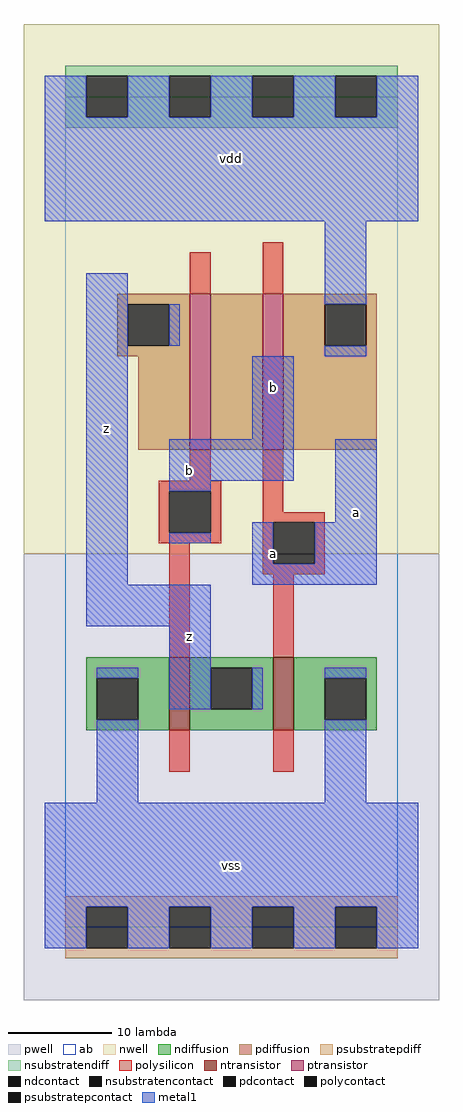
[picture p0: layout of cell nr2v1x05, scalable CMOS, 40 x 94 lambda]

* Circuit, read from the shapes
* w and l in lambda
.subckt nr2v1x05 a b vdd vss z
M1 z b vss vss nfet w=7 l=2
M2 vss a z vss nfet w=7 l=2
M3 n1 b z vdd pfet w=15 l=2
M4 vdd a n1 vdd pfet w=15 l=2
.ends

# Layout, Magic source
magic
tech scmos
<< ab >>
rect 0 0 32 80
<< pwell >>
rect -4 -7 36 36
<< nwell >>
rect -4 36 36 87
<< polysilicon >>
rect 12 61 14 65
rect 19 61 21 66
rect 12 43 14 46
rect 9 42 15 43
rect 9 38 10 42
rect 14 38 15 42
rect 9 37 15 38
rect 19 40 21 46
rect 19 39 25 40
rect 10 26 12 37
rect 19 35 20 39
rect 24 35 25 39
rect 19 34 25 35
rect 20 26 22 34
rect 10 15 12 19
rect 20 15 22 19
<< ndiffusion >>
rect 2 24 10 26
rect 2 20 3 24
rect 7 20 10 24
rect 2 19 10 20
rect 12 25 20 26
rect 12 21 14 25
rect 18 21 20 25
rect 12 19 20 21
rect 22 24 30 26
rect 22 20 25 24
rect 29 20 30 24
rect 22 19 30 20
<< pdiffusion >>
rect 5 60 12 61
rect 5 56 6 60
rect 10 56 12 60
rect 5 55 12 56
rect 7 46 12 55
rect 14 46 19 61
rect 21 60 30 61
rect 21 56 25 60
rect 29 56 30 60
rect 21 46 30 56
<< metal1 >>
rect -2 78 2 82
rect 6 78 10 82
rect 14 78 18 82
rect 22 78 26 82
rect 30 78 34 82
rect -2 68 34 78
rect 2 33 6 63
rect 25 60 29 68
rect 10 56 11 60
rect 25 55 29 56
rect 18 47 22 55
rect 10 43 22 47
rect 10 42 14 43
rect 26 39 30 47
rect 10 37 14 38
rect 18 35 20 39
rect 24 35 30 39
rect 18 33 30 35
rect 2 29 14 33
rect 3 24 7 25
rect 10 21 14 29
rect 18 21 19 25
rect 25 24 29 25
rect 3 12 7 20
rect 25 12 29 20
rect -2 2 34 12
rect -2 -2 2 2
rect 6 -2 10 2
rect 14 -2 18 2
rect 22 -2 26 2
rect 30 -2 34 2
<< ntransistor >>
rect 10 19 12 26
rect 20 19 22 26
<< ptransistor >>
rect 12 46 14 61
rect 19 46 21 61
<< polycontact >>
rect 10 38 14 42
rect 20 35 24 39
<< ndcontact >>
rect 3 20 7 24
rect 14 21 18 25
rect 25 20 29 24
<< pdcontact >>
rect 6 56 10 60
rect 25 56 29 60
<< psubstratepcontact >>
rect 2 -2 6 2
rect 10 -2 14 2
rect 18 -2 22 2
rect 26 -2 30 2
<< nsubstratencontact >>
rect 2 78 6 82
rect 10 78 14 82
rect 18 78 22 82
rect 26 78 30 82
<< psubstratepdiff >>
rect 0 2 32 3
rect 0 -2 2 2
rect 6 -2 10 2
rect 14 -2 18 2
rect 22 -2 26 2
rect 30 -2 32 2
rect 0 -3 32 -2
<< nsubstratendiff >>
rect 0 82 32 83
rect 0 78 2 82
rect 6 78 10 82
rect 14 78 18 82
rect 22 78 26 82
rect 30 78 32 82
rect 0 77 32 78
<< labels >>
rlabel metal1 4 48 4 48 6 z
rlabel metal1 12 28 12 28 6 z
rlabel metal1 12 44 12 44 6 b
rlabel metal1 16 6 16 6 6 vss
rlabel metal1 20 36 20 36 6 a
rlabel metal1 20 52 20 52 6 b
rlabel metal1 16 74 16 74 6 vdd
rlabel metal1 28 40 28 40 6 a
<< end >>
